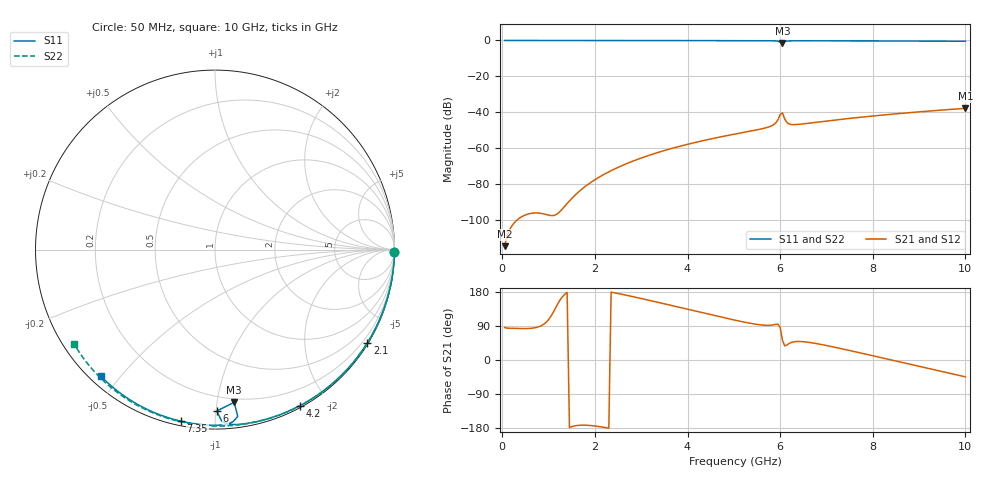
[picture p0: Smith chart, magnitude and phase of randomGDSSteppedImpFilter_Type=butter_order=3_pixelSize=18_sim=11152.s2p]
! freq	dB(S11)	phase(S11)	dB(S12)	phase(S12)
!  dB(S21)	phase(S21)	dB(S22)	phase(S22)
!S-par simulation data
#  GHz  S  DB  R 50
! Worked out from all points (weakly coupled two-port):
!   200 points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, 50 MHz to 10 GHz, reference 50 ohm
!   highest |S21| = -37.73 dB at 10 GHz (marker M1); lowest = -114.3 dB at 50 MHz (marker M2)
!   lowest |S11| = -1.3 dB at 6.05 GHz (marker M3), VSWR 13.06, Z = 8.69 - j55.9 ohm
!   |S11| at or under -10 dB: nowhere
!   |S22| runs from -0.5 to 0.0 dB; largest |S21 - S12| = 0
!   S11 on the Smith chart (normalised r, x): 50 MHz: open; 2.1 GHz: 0.03, -3.54; 4.2 GHz: 0.02, -1.68; 6 GHz: 0.11, -1.01; 7.35 GHz: 0.02, -0.82; 10 GHz: 0.03, -0.44
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0.05  -0.00 -0.8  -114.30 85.7  -114.30 85.7  -0.00 -0.9
0.9  -0.02 -13.7  -96.40 94.9  -96.40 94.9  -0.02 -15.2
1.75  -0.03 -26.4  -81.93 -171.9  -81.93 -171.9  -0.04 -29.3
1.85  -0.04 -27.9  -79.98 -172.4  -79.98 -172.4  -0.04 -30.9
2.1  -0.04 -31.6  -75.81 -175.8  -75.81 -175.8  -0.04 -35.0
2.7  -0.05 -40.3  -68.27 170.4  -68.27 170.4  -0.06 -44.7
3.4  -0.07 -50.3  -61.93 151.1  -61.93 151.1  -0.07 -55.6
4.2  -0.09 -61.4  -56.46 128.1  -56.46 128.1  -0.10 -67.8
5.05  -0.11 -73.0  -51.87 104.4  -51.87 104.4  -0.12 -80.3
5.8  -0.17 -83.9  -47.61 91.9  -47.61 91.9  -0.15 -90.9
5.9  -0.25 -86.1  -45.96 94.1  -45.96 94.1  -0.16 -92.3
5.95  -0.39 -87.8  -44.23 94.6  -44.23 94.6  -0.16 -93.0
6  -0.92 -89.4  -41.17 86.1  -41.17 86.1  -0.17 -93.7
6.05  -1.33 -82.8  -40.22 51.6  -40.22 51.6  -0.17 -94.4
6.1  -0.55 -82.2  -43.74 37.2  -43.74 37.2  -0.17 -95.1
6.15  -0.32 -84.0  -45.71 40.0  -45.71 40.0  -0.17 -95.8
6.2  -0.25 -85.3  -46.47 43.9  -46.47 43.9  -0.17 -96.5
6.35  -0.19 -88.1  -46.72 48.8  -46.72 48.8  -0.18 -98.5
6.7  -0.19 -93.1  -45.71 45.1  -45.71 45.1  -0.20 -103.3
7.35  -0.22 -101.2  -43.73 29.1  -43.73 29.1  -0.24 -111.9
8.35  -0.29 -113.2  -41.12 1.5  -41.12 1.5  -0.32 -125.0
10  -0.45 -132.2  -37.73 -44.5  -37.73 -44.5  -0.49 -146.2
